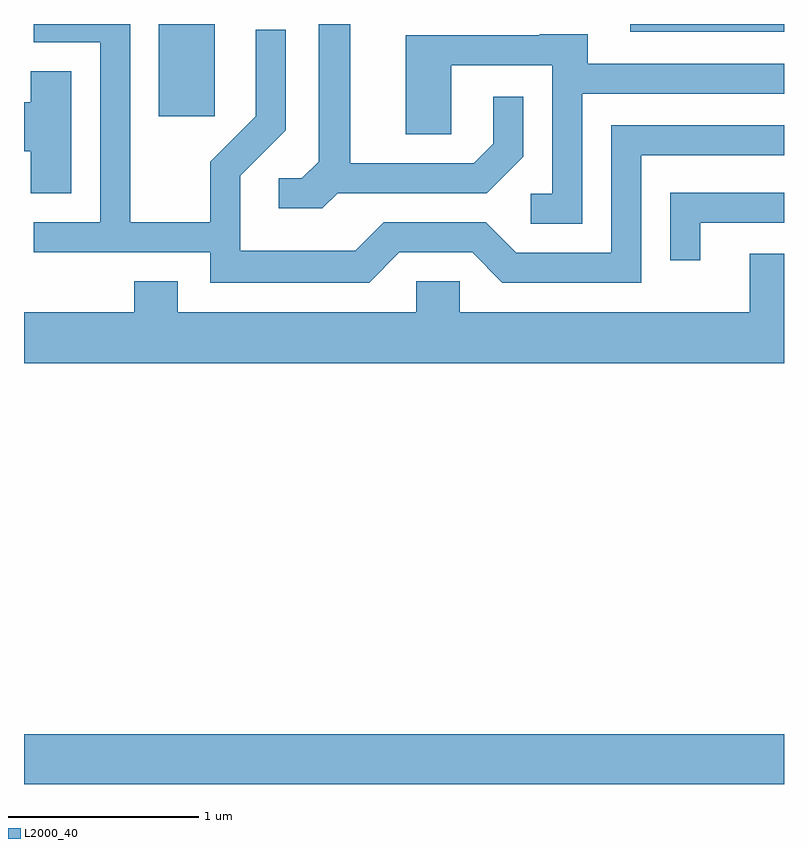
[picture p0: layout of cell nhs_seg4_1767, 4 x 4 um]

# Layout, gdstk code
import gdstk
lib = gdstk.Library(unit=1e-6, precision=1e-09)
def R(c, l, rs):  # rectangles x0, y0, x1, y1
    for r in rs: c.add(gdstk.rectangle(r[:2], r[2:], *l))
def P(c, l, *ps):  # polygons
    for p in ps: c.add(gdstk.Polygon(p, *l))
L2000_40 = (2000, 40)

nhs_seg4_1767 = lib.new_cell('nhs_seg4_1767')
R(nhs_seg4_1767, L2000_40, [(235.611,1387.982,239.611,1388.244), (236.321,1391.496,236.614,1391.982), (238.801,1391.941,239.611,1391.982)])
P(nhs_seg4_1767, L2000_40, [(237.262,1391.091),(238.047,1391.091),(238.239,1391.284),(238.239,1391.598),(238.081,1391.598),(238.081,1391.352),(237.979,1391.249),(237.329,1391.249),(237.329,1391.982),(237.161,1391.982),(237.161,1391.257),(237.074,1391.169),(236.953,1391.169),(236.953,1391.011),(237.182,1391.011)],
  [(237.587,1390.781),(237.969,1390.781),(238.129,1390.621),(238.859,1390.621),(238.859,1391.291),(239.611,1391.291),(239.611,1391.449),(238.701,1391.449),(238.701,1390.779),(238.202,1390.779),(238.042,1390.939),(237.504,1390.939),(237.354,1390.789),(236.749,1390.789),(236.749,1391.184),(236.989,1391.424),(236.989,1391.953),(236.831,1391.953),(236.831,1391.497),(236.591,1391.257),(236.591,1390.939),(236.169,1390.939),(236.169,1391.982),(235.663,1391.982),(235.663,1391.886),(236.011,1391.886),(236.011,1390.939),(235.663,1390.939),(235.663,1390.781),(236.591,1390.781),(236.591,1390.621),(237.427,1390.621)],
  [(238.549,1391.616),(239.611,1391.616),(239.611,1391.774),(238.579,1391.774),(238.579,1391.929),(238.325,1391.929),(238.325,1391.924),(237.621,1391.924),(237.621,1391.401),(237.859,1391.401),(237.859,1391.766),(238.391,1391.766),(238.391,1391.089),(238.278,1391.089),(238.278,1390.931),(238.549,1390.931)],
  [(235.859,1391.734),(235.646,1391.734),(235.646,1391.569),(235.611,1391.569),(235.611,1391.311),(235.646,1391.311),(235.646,1391.091),(235.859,1391.091)],
  [(239.169,1390.936),(239.611,1390.936),(239.611,1391.094),(239.011,1391.094),(239.011,1390.738),(239.169,1390.738)],
  [(239.611,1390.774),(239.431,1390.774),(239.431,1390.464),(237.904,1390.464),(237.904,1390.629),(237.676,1390.629),(237.676,1390.464),(236.419,1390.464),(236.419,1390.629),(236.191,1390.629),(236.191,1390.464),(235.611,1390.464),(235.611,1390.196),(239.611,1390.196)])

lib.write_gds('nhs_seg4_1767.gds')
